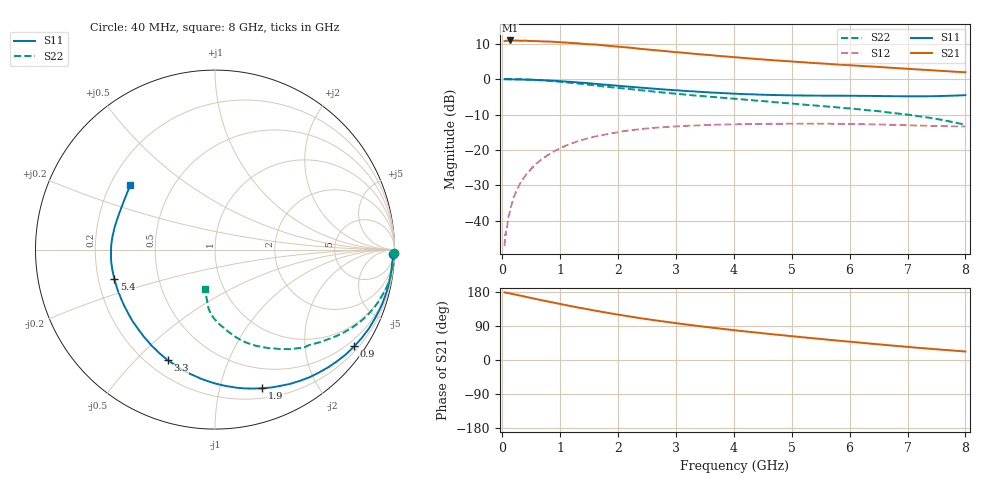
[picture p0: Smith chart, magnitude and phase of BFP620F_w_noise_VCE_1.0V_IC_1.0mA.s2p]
! Infineon Technologies  Discrete & RF Semiconductors
! BFP620F
! VCE =  1.0 V,  IC =  1.0 mA
! Common Emitter S-Parameters:  Dec 2014
# GHz  S  MA  R  50
!  f  S11  S21  S12  S22
! GHz  MAG  ANG  MAG  ANG  MAG  ANG  MAG  ANG
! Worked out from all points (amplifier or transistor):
!   94 points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, 40 MHz to 8 GHz, reference 50 ohm
!   highest |S21| = 10.9 dB at 130 MHz (marker M1)
!   |S21| within 3 dB of that: start of sweep to 2.815 GHz
!   unconditionally stable (mu >= 1): 7.032 GHz to end of sweep
!   at 350 MHz: K = 0.01, MSG = 19.6 dB, |S12| = -28.4 dB
!   at 3.4 GHz: K = 0.47, MSG = 10.0 dB, |S12| = -13.1 dB
!   at 8 GHz: K = 1.16, MAG = 5.2 dB, |S12| = -13.4 dB
!   lowest NFmin = 0.63 dB at 450 MHz
!   S11 on the Smith chart (normalised r, x): 40 MHz: 23, -69; 900 MHz: 0.31, -3.16; 1.9 GHz: 0.29, -1.36; 3.3 GHz: 0.28, -0.62; 5.4 GHz: 0.27, -0.13; 8 GHz: 0.28, +0.31
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0.04  0.9913 -1.5  3.426 178.4  0.0044 89.1  0.9999 -1.1
0.05  0.9916 -2.1  3.445 178.2  0.0065 90.6  1 -1.3
0.06  0.991 -2.4  3.454 178.1  0.0063 83.8  1 -1.5
0.07  0.9914 -2.7  3.453 177.7  0.0077 90.1  0.9986 -1.8
0.1  0.9903 -3.9  3.477 176.7  0.0107 87.1  0.9991 -2.5
0.13  0.9894 -5.0  3.5 175.7  0.0135 88.6  0.9984 -3.4
0.2  0.9888 -7.7  3.478 173.5  0.0219 86.8  0.9955 -5.2
0.4  0.9824 -15.5  3.48 166.9  0.0436 81.8  0.9848 -10.3
0.6  0.9701 -23.3  3.422 160.3  0.0654 76.2  0.9666 -15.2
0.9  0.9448 -34.8  3.347 150.9  0.0963 68.1  0.9298 -22.4
1.1  0.9223 -42.3  3.269 144.7  0.1153 63.0  0.8996 -27.0
1.4  0.8854 -53.4  3.132 136.1  0.1401 55.6  0.8485 -33.4
1.6  0.8572 -60.8  3.074 130.4  0.1543 51.2  0.8131 -37.4
1.9  0.8167 -71.1  2.906 122.4  0.1721 44.8  0.7624 -43.4
2.2  0.7784 -81.2  2.774 114.8  0.1888 38.9  0.7223 -49.4
2.7  0.7229 -96.4  2.524 103.5  0.2074 30.4  0.6555 -57.5
3.3  0.6699 -113.1  2.276 91.4  0.2208 22.1  0.5887 -66.0
4.1  0.6172 -133.5  2.008 77.0  0.2309 13.0  0.5208 -74.4
4.7  0.5952 -147.8  1.838 67.4  0.2337 7.4  0.4728 -79.7
5.4  0.5842 -163.5  1.68 56.9  0.2343 1.6  0.4236 -85.7
6.7  0.5734 169.5  1.445 38.6  0.2265 -7.3  0.336 -95.7
8  0.5927 142.8  1.247 22.4  0.2146 -11.9  0.2265 -104.7
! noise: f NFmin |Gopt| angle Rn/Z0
0.45  0.63  0.7  11  0.33
0.9  0.82  0.71  21  0.28
1.5  0.98  0.64  33  0.28
1.8  1.05  0.63  37  0.28
1.9  1.07  0.6  46  0.29
2.4  1.19  0.58  59  0.27
3.5  1.44  0.56  83  0.2
5.5  1.85  0.41  143  0.17
6  1.94  0.29  161  0.33
